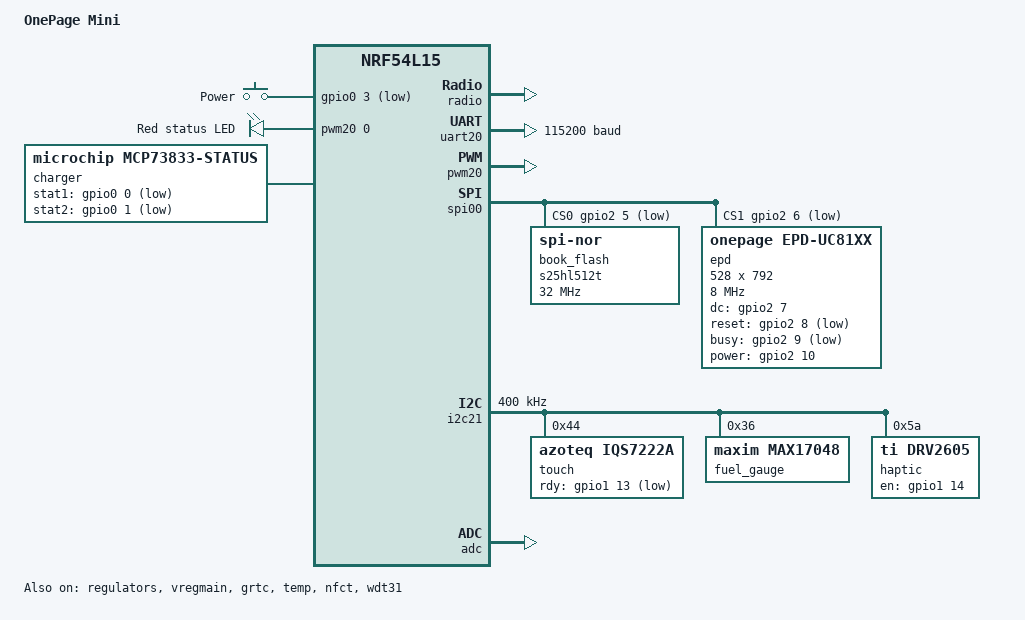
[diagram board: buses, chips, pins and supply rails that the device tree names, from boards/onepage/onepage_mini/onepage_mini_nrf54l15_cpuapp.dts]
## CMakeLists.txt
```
# OnePage Mini firmware (nRF Connect SDK v3.0.2, sysbuild with MCUboot).
cmake_minimum_required(VERSION 3.20.0)

# Custom board and bindings live in this directory.
list(APPEND BOARD_ROOT ${CMAKE_CURRENT_LIST_DIR})
list(APPEND DTS_ROOT ${CMAKE_CURRENT_LIST_DIR})

find_package(Zephyr REQUIRED HINTS $ENV{ZEPHYR_BASE})
project(onepage_mini)

# Portable core: plain C, also built by tests/host.
file(GLOB CORE_SOURCES src/core/*.c)
target_sources(app PRIVATE ${CORE_SOURCES})
target_include_directories(app PRIVATE src src/core)

target_sources(app PRIVATE
  src/main.c
  src/app.c
  src/clock.c
  src/power.c
  src/ble/ble_core.c
  src/ble/ancs.c
  src/ble/ams.c
  src/ble/cts.c
  src/ble/op_service.c
  src/ble/nfc_tag.c
  src/drivers/epd_uc81xx.c
  src/drivers/touch_iqs7222a.c
  src/drivers/charger.c
  src/drivers/battery.c
  src/drivers/alerts_hw.c
  src/drivers/button.c
  src/storage/store.c
  src/storage/books.c
  src/ui/gfx.c
  src/ui/screens.c
  src/ui/fonts_generated.c
)

if(CONFIG_ONEPAGE_TEST_AWAY_ERASE_MIN GREATER 0)
  message(WARNING "BENCH BUILD: phone-away erase after ${CONFIG_ONEPAGE_TEST_AWAY_ERASE_MIN} min. Do not ship.")
  math(EXPR ONEPAGE_AWAY_ERASE_MS "${CONFIG_ONEPAGE_TEST_AWAY_ERASE_MIN} * 60000")
  target_compile_definitions(app PRIVATE PRIV_ERASE_DELAY_MS=${ONEPAGE_AWAY_ERASE_MS}ull)
endif()
```

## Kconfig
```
menu "OnePage Mini"

config ONEPAGE_HW_REV
	int "Hardware revision reported in Status"
	default 1

config ONEPAGE_FW_VERSION
	string "Firmware version string reported in Status"
	default "1.0.0"

config ONEPAGE_NFC_URL_HOST
	string "Host and path of the NFC link, before the device ID"
	default "onepage.app/p/"
	help
	  The tag holds https://<this><DEVICE_ID>. onepage.app is a
	  placeholder until the domain is registered (protocol section 4).

config ONEPAGE_PAIRING_WINDOW_S
	int "Pairing window length, seconds"
	default 120

config ONEPAGE_EPD_POWER_HOLD_MS
	int "Keep the display supply on this long after the last refresh"
	default 120000
	help
	  Partial refresh needs the previous image in the controller's RAM,
	  which is lost when the supply is cut. The supply is cut after this
	  idle time, and the next refresh is a full one.

config ONEPAGE_UNSECURED_TIMEOUT_S
	int "Disconnect a link that is not encrypted after this many seconds"
	default 15

config ONEPAGE_TEST_AWAY_ERASE_MIN
	int "BENCH ONLY: erase the calendar after this many minutes away"
	default 0
	help
	  0 (the default) keeps the 7-day rule. A value above 0 replaces it
	  and saves the time away every minute, so docs/TESTING.md can check
	  the erase and the restart-while-away rule in minutes. Never ship a
	  build with this set.

endmenu

source "Kconfig.zephyr"
```

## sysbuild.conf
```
# MCUboot with signed images. Replace the development key before production:
# SB_CONFIG_BOOT_SIGNATURE_KEY_FILE="<path to private key>"   TODO(release)
SB_CONFIG_BOOTLOADER_MCUBOOT=y
SB_CONFIG_BOOT_SIGNATURE_TYPE_ED25519=y
```

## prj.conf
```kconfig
# OnePage Mini application configuration.

# ---- Kernel --------------------------------------------------------------
CONFIG_MAIN_STACK_SIZE=4096
CONFIG_SYSTEM_WORKQUEUE_STACK_SIZE=2048
CONFIG_HEAP_MEM_POOL_SIZE=2048
CONFIG_REBOOT=y
CONFIG_POWEROFF=y
CONFIG_HWINFO=y
CONFIG_PM_DEVICE=y
CONFIG_PM_DEVICE_RUNTIME=y

# ---- Logging (set CONFIG_LOG=n for production) -----------------------------
CONFIG_LOG=y
CONFIG_LOG_MODE_DEFERRED=y
CONFIG_LOG_DEFAULT_LEVEL=3
CONFIG_BT_USER_PHY_UPDATE=y
CONFIG_BT_USER_DATA_LEN_UPDATE=y

# ---- Bluetooth -------------------------------------------------------------
CONFIG_BT=y
CONFIG_BT_PERIPHERAL=y
CONFIG_BT_DEVICE_NAME="OnePage Mini"
CONFIG_BT_DEVICE_APPEARANCE=0
CONFIG_BT_MAX_CONN=1
CONFIG_BT_MAX_PAIRED=1
CONFIG_BT_SMP=y
CONFIG_BT_SMP_SC_PAIR_ONLY=y
CONFIG_BT_SMP_APP_PAIRING_ACCEPT=y
CONFIG_BT_BONDABLE=y
CONFIG_BT_SETTINGS=y
CONFIG_BT_GATT_CLIENT=y
CONFIG_BT_GATT_DM=y
CONFIG_BT_GATT_DYNAMIC_DB=n
CONFIG_BT_GAP_AUTO_UPDATE_CONN_PARAMS=n
CONFIG_BT_GATTP=y
CONFIG_BT_ANCS_CLIENT=y
CONFIG_BT_AMS_CLIENT=y
CONFIG_BT_CTS_CLIENT=y
CONFIG_BT_BAS=y
CONFIG_BT_DIS=y
CONFIG_BT_DIS_MODEL_NUMBER_STR="OnePage Mini"
CONFIG_BT_DIS_MANUF_NAME_STR="OnePage"
CONFIG_BT_DIS_FW_REV=y
CONFIG_BT_DIS_FW_REV_STR="1.0.0"
CONFIG_BT_DIS_HW_REV=y
CONFIG_BT_DIS_HW_REV_STR="1"

# Larger MTU and data length for book transfer.
CONFIG_BT_L2CAP_TX_MTU=247
CONFIG_BT_BUF_ACL_TX_SIZE=251
CONFIG_BT_BUF_ACL_RX_SIZE=251
CONFIG_BT_BUF_ACL_TX_COUNT=8
CONFIG_BT_BUF_ACL_RX_COUNT_EXTRA=4
CONFIG_BT_CTLR_DATA_LENGTH_MAX=251
CONFIG_BT_ATT_TX_COUNT=8
CONFIG_BT_RX_STACK_SIZE=3072

# ---- Firmware update over Bluetooth (MCUmgr SMP) ---------------------------
CONFIG_NCS_SAMPLE_MCUMGR_BT_OTA_DFU=y
CONFIG_MCUMGR_TRANSPORT_BT_PERM_RW_ENCRYPT=y

# ---- Storage ---------------------------------------------------------------
CONFIG_FLASH=y
CONFIG_FLASH_MAP=y
CONFIG_FLASH_PAGE_LAYOUT=y
CONFIG_ZMS=y
CONFIG_SETTINGS=y
CONFIG_SETTINGS_ZMS=y
CONFIG_PM_PARTITION_SIZE_SETTINGS_STORAGE=0x10000

# Books on the external NOR flash, littlefs.
CONFIG_SPI=y
CONFIG_SPI_NOR=y
CONFIG_FILE_SYSTEM=y
CONFIG_FILE_SYSTEM_LITTLEFS=y
CONFIG_FS_LITTLEFS_FMP_DEV=y
CONFIG_PM_PARTITION_REGION_LITTLEFS_EXTERNAL=y

# ---- NFC tag ----------------------------------------------------------------
CONFIG_NFC_T2T_NRFXLIB=y
CONFIG_NFC_NDEF=y
CONFIG_NFC_NDEF_MSG=y
CONFIG_NFC_NDEF_RECORD=y
CONFIG_NFC_NDEF_URI_MSG=y
CONFIG_NFC_NDEF_URI_REC=y

# ---- Peripherals ------------------------------------------------------------
CONFIG_I2C=y
CONFIG_PWM=y
CONFIG_FUEL_GAUGE=y
CONFIG_HAPTICS=y

# ---- Robustness (review pass 5) --------------------------------------------
# SMP upload chunks keep the link fast (op_service.c smp_chunk_cb).
CONFIG_MCUMGR_MGMT_NOTIFICATION_HOOKS=y
CONFIG_MCUMGR_GRP_IMG_UPLOAD_CHECK_HOOK=y
# Hardware watchdog, fed by the application thread (app.c).
CONFIG_WATCHDOG=y
```

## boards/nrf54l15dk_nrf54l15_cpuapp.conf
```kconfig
# MX25R64 on the DK: 8 MB for books.
CONFIG_PM_PARTITION_SIZE_LITTLEFS=0x800000
```

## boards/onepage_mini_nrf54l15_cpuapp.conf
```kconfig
# S25HL512T: 64 MB for books. Read the 4-byte addressing and sector map
# from the chip's SFDP tables. TODO(datasheet): confirm the sector map is
# set to uniform 4 KB or 256 KB and match littlefs to it.
CONFIG_PM_PARTITION_SIZE_LITTLEFS=0x4000000
CONFIG_SPI_NOR_SFDP_RUNTIME=y
```

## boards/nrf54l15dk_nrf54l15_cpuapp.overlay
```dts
/*
 * nRF54L15 DK for development. The DK's MX25R64 holds books. The display,
 * touch controller, fuel gauge and haptic driver are optional wires to the
 * DK headers; the firmware logs each missing part and runs without it.
 *
 * DK wiring (all optional):
 *   Display  SPIM00 shared with MX25R64: SCK P2.01, MOSI P2.02,
 *            CS P0.00, DC P0.01, RST P0.02, BUSY P0.03
 *   I2C22    SDA P1.06, SCL P1.07 (UART20 flow control is off)
 *   Touch    RDY P1.11
 *   Charger  STAT1 P1.12, STAT2 P1.15
 *   Button   DK Button 0 is the power button
 *   LED      DK LED 1 (PWM20 on P1.10) is the status LED
 */
#include <zephyr/dt-bindings/input/input-event-codes.h>

/ {
	chosen {
		nordic,pm-ext-flash = &mx25r64;
		onepage,display = &epd;
		onepage,touch = &touch;
		onepage,charger = &charger;
	};

	charger: charger {
		compatible = "microchip,mcp73833-status";
		stat1-gpios = <&gpio1 12 (GPIO_PULL_UP | GPIO_ACTIVE_LOW)>;
		stat2-gpios = <&gpio1 15 (GPIO_PULL_UP | GPIO_ACTIVE_LOW)>;
	};
};

&pinctrl {
	uart20_default_noflow: uart20_default_noflow {
		group1 {
			psels = <NRF_PSEL(UART_TX, 1, 4)>;
		};
		group2 {
			psels = <NRF_PSEL(UART_RX, 1, 5)>;
			bias-pull-up;
		};
	};
	uart20_sleep_noflow: uart20_sleep_noflow {
		group1 {
			psels = <NRF_PSEL(UART_TX, 1, 4)>, <NRF_PSEL(UART_RX, 1, 5)>;
			low-power-enable;
		};
	};
	i2c22_default: i2c22_default {
		group1 {
			psels = <NRF_PSEL(TWIM_SDA, 1, 6)>, <NRF_PSEL(TWIM_SCL, 1, 7)>;
		};
	};
	i2c22_sleep: i2c22_sleep {
		group1 {
			psels = <NRF_PSEL(TWIM_SDA, 1, 6)>, <NRF_PSEL(TWIM_SCL, 1, 7)>;
			low-power-enable;
		};
	};
};

&uart20 {
	pinctrl-0 = <&uart20_default_noflow>;
	pinctrl-1 = <&uart20_sleep_noflow>;
};

&nfct {
	status = "okay";
};

&spi00 {
	cs-gpios = <&gpio2 5 GPIO_ACTIVE_LOW>, <&gpio0 0 GPIO_ACTIVE_LOW>;

	epd: epd@1 {
		compatible = "onepage,epd-uc81xx";
		reg = <1>;
		spi-max-frequency = <8000000>;
		width = <528>;
		height = <792>;
		dc-gpios = <&gpio0 1 GPIO_ACTIVE_HIGH>;
		reset-gpios = <&gpio0 2 GPIO_ACTIVE_LOW>;
		busy-gpios = <&gpio0 3 GPIO_ACTIVE_LOW>;
	};
};

&i2c22 {
	status = "okay";
	clock-frequency = <I2C_BITRATE_FAST>;
	pinctrl-0 = <&i2c22_default>;
	pinctrl-1 = <&i2c22_sleep>;
	pinctrl-names = "default", "sleep";
	zephyr,concat-buf-size = <64>;

	touch: iqs7222a@44 {
		compatible = "azoteq,iqs7222a";
		reg = <0x44>;
		rdy-gpios = <&gpio1 11 (GPIO_ACTIVE_LOW | GPIO_PULL_UP)>;
	};

	fuel_gauge: max17048@36 {
		compatible = "maxim,max17048";
		reg = <0x36>;
	};

	haptic: drv2605@5a {
		compatible = "ti,drv2605";
		reg = <0x5a>;
		actuator-mode = "LRA";
	};
};

/* The FLPR (RISC-V) core is not used: give its RAM and RRAM to the app core,
 * as Nordic samples do. The frame buffer alone needs 52 KB.
 */
&cpuapp_rram {
	reg = <0x0 DT_SIZE_K(1524)>;
};

&cpuapp_sram {
	reg = <0x20000000 DT_SIZE_K(256)>;
	ranges = <0x0 0x20000000 0x40000>;
};

&rram_controller {
	/delete-node/ cpuflpr_sram;
	/delete-node/ cpuflpr_rram;
};

/* Watchdog, fed by the application thread (review pass 5). */
&wdt31 { status = "okay"; };
```

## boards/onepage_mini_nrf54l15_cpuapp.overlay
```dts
/*
 * Application-only devicetree for the OnePage Mini. The book partition on
 * the external flash belongs to the application; MCUboot does not use it.
 */
/ {
	chosen {
		nordic,pm-ext-flash = &book_flash;
	};
};
```

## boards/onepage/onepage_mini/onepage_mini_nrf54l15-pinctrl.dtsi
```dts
/*
 * OnePage Mini pin assignments.
 * Every pin here is a placeholder until the PCB layout is final.
 */
&pinctrl {
	uart20_default: uart20_default {
		group1 {
			psels = <NRF_PSEL(UART_TX, 1, 4)>; /* TODO(pcb) test pad */
		};
		group2 {
			psels = <NRF_PSEL(UART_RX, 1, 5)>; /* TODO(pcb) test pad */
			bias-pull-up;
		};
	};
	uart20_sleep: uart20_sleep {
		group1 {
			psels = <NRF_PSEL(UART_TX, 1, 4)>, <NRF_PSEL(UART_RX, 1, 5)>;
			low-power-enable;
		};
	};
	/* Display and NOR flash share SPIM00. SPIM00 pins must be on port 2. */
	spi00_default: spi00_default {
		group1 {
			psels = <NRF_PSEL(SPIM_SCK, 2, 1)>,  /* TODO(pcb) */
				<NRF_PSEL(SPIM_MOSI, 2, 2)>, /* TODO(pcb) */
				<NRF_PSEL(SPIM_MISO, 2, 4)>; /* TODO(pcb) */
		};
	};
	spi00_sleep: spi00_sleep {
		group1 {
			psels = <NRF_PSEL(SPIM_SCK, 2, 1)>,
				<NRF_PSEL(SPIM_MOSI, 2, 2)>,
				<NRF_PSEL(SPIM_MISO, 2, 4)>;
			low-power-enable;
		};
	};
	/* Touch, fuel gauge and haptic driver share TWIM21. */
	i2c21_default: i2c21_default {
		group1 {
			psels = <NRF_PSEL(TWIM_SDA, 1, 11)>, /* TODO(pcb) */
				<NRF_PSEL(TWIM_SCL, 1, 12)>; /* TODO(pcb) */
		};
	};
	i2c21_sleep: i2c21_sleep {
		group1 {
			psels = <NRF_PSEL(TWIM_SDA, 1, 11)>, <NRF_PSEL(TWIM_SCL, 1, 12)>;
			low-power-enable;
		};
	};
	/* Red status LED. PWM20 can only drive port 1 pins. */
	pwm20_default: pwm20_default {
		group1 {
			psels = <NRF_PSEL(PWM_OUT0, 1, 10)>; /* TODO(pcb) */
		};
	};
	pwm20_sleep: pwm20_sleep {
		group1 {
			psels = <NRF_PSEL(PWM_OUT0, 1, 10)>;
			low-power-enable;
		};
	};
};
```

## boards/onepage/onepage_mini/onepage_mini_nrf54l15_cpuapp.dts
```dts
/*
 * OnePage Mini, application core of the nRF54L15
 * (Raytac AN54LQ-15 module). Parts follow the component list; pins are
 * placeholders marked TODO(pcb).
 */
/dts-v1/;

#include <nordic/nrf54l15_cpuapp.dtsi>
#include <zephyr/dt-bindings/input/input-event-codes.h>
#include "onepage_mini_nrf54l15-pinctrl.dtsi"

/ {
	compatible = "onepage,onepage-mini";
	model = "OnePage Mini";

	chosen {
		zephyr,console = &uart20;
		zephyr,shell-uart = &uart20;
		zephyr,flash-controller = &rram_controller;
		zephyr,flash = &cpuapp_rram;
		zephyr,code-partition = &slot0_partition;
		zephyr,sram = &cpuapp_sram;
		onepage,display = &epd;
		onepage,touch = &touch;
		onepage,charger = &charger;
	};

	buttons {
		compatible = "gpio-keys";
		power_button: power_button {
			/* Side switch to ground. Wake-capable from System OFF. */
			gpios = <&gpio0 3 (GPIO_PULL_UP | GPIO_ACTIVE_LOW)>; /* TODO(pcb) */
			label = "Power";
			zephyr,code = <INPUT_KEY_POWER>;
		};
	};

	pwmleds {
		compatible = "pwm-leds";
		status_led: status_led {
			pwms = <&pwm20 0 PWM_MSEC(20) PWM_POLARITY_NORMAL>;
			label = "Red status LED";
		};
	};

	charger: charger {
		compatible = "microchip,mcp73833-status";
		stat1-gpios = <&gpio0 0 (GPIO_PULL_UP | GPIO_ACTIVE_LOW)>; /* TODO(pcb) */
		stat2-gpios = <&gpio0 1 (GPIO_PULL_UP | GPIO_ACTIVE_LOW)>; /* TODO(pcb) */
	};

	aliases {
		pwm-led0 = &status_led;
		sw0 = &power_button;
		watchdog0 = &wdt31;
	};
};

&cpuapp_sram {
	status = "okay";
};

&lfxo {
	load-capacitors = "internal";
	load-capacitance-femtofarad = <15000>; /* TODO(pcb): per module datasheet */
};

&hfxo {
	load-capacitors = "internal";
	load-capacitance-femtofarad = <15000>; /* TODO(pcb): per module datasheet */
};

&regulators {
	status = "okay";
};

&vregmain {
	status = "okay";
	regulator-initial-mode = <NRF5X_REG_MODE_DCDC>;
};

&grtc {
	owned-channels = <0 1 2 3 4 5 6 7 8 9 10 11>;
	child-owned-channels = <3 4 7 8 9 10 11>;
	status = "okay";
};

&clock { status = "okay"; };
&radio { status = "okay"; };
&temp { status = "okay"; };
&gpio0 { status = "okay"; };
&gpio1 { status = "okay"; };
&gpio2 { status = "okay"; };
&gpiote20 { status = "okay"; };
&gpiote30 { status = "okay"; };

&uart20 {
	status = "okay";
	current-speed = <115200>;
	pinctrl-0 = <&uart20_default>;
	pinctrl-1 = <&uart20_sleep>;
	pinctrl-names = "default", "sleep";
};

&pwm20 {
	status = "okay";
	pinctrl-0 = <&pwm20_default>;
	pinctrl-1 = <&pwm20_sleep>;
	pinctrl-names = "default", "sleep";
};

/* NFC antenna on the dedicated NFC1/NFC2 pins (P1.02, P1.03). */
&nfct {
	status = "okay";
};

&spi00 {
	status = "okay";
	cs-gpios = <&gpio2 5 GPIO_ACTIVE_LOW>,  /* NOR flash, TODO(pcb) */
		   <&gpio2 6 GPIO_ACTIVE_LOW>;  /* display, TODO(pcb) */
	pinctrl-0 = <&spi00_default>;
	pinctrl-1 = <&spi00_sleep>;
	pinctrl-names = "default", "sleep";

	/* Infineon S25HL512T, 512 Mbit (64 MB). Books only. */
	book_flash: s25hl512t@0 {
		compatible = "jedec,spi-nor";
		reg = <0>;
		spi-max-frequency = <32000000>;
		jedec-id = [34 2a 1a];
		size = <DT_SIZE_M(512)>; /* in bits */
		has-dpd;
		t-enter-dpd = <3000>;
		t-exit-dpd = <100000>; /* TODO(datasheet): tRES from S25HL512T sheet */
	};

	epd: epd@1 {
		compatible = "onepage,epd-uc81xx";
		reg = <1>;
		spi-max-frequency = <8000000>;
		width = <528>;
		height = <792>;
		dc-gpios = <&gpio2 7 GPIO_ACTIVE_HIGH>;    /* TODO(pcb) */
		reset-gpios = <&gpio2 8 GPIO_ACTIVE_LOW>;  /* TODO(pcb) */
		busy-gpios = <&gpio2 9 GPIO_ACTIVE_LOW>;   /* TODO(pcb) BUSY active-low */
		power-gpios = <&gpio2 10 GPIO_ACTIVE_HIGH>; /* TODO(pcb) load switch */
	};
};

&i2c21 {
	status = "okay";
	clock-frequency = <I2C_BITRATE_FAST>;
	pinctrl-0 = <&i2c21_default>;
	pinctrl-1 = <&i2c21_sleep>;
	pinctrl-names = "default", "sleep";

	touch: iqs7222a@44 {
		compatible = "azoteq,iqs7222a";
		reg = <0x44>;
		rdy-gpios = <&gpio1 13 (GPIO_ACTIVE_LOW | GPIO_PULL_UP)>; /* TODO(pcb) */
	};

	fuel_gauge: max17048@36 {
		compatible = "maxim,max17048";
		reg = <0x36>;
	};

	haptic: drv2605@5a {
		compatible = "ti,drv2605";
		reg = <0x5a>;
		actuator-mode = "LRA";
		en-gpios = <&gpio1 14 GPIO_ACTIVE_HIGH>; /* TODO(pcb) */
		vib-rated-mv = <2000>;    /* TODO(datasheet): LRA part not final */
		vib-overdrive-mv = <2500>;
	};
};

&adc {
	status = "okay";
};

/*
 * Internal RRAM layout without the Partition Manager. With sysbuild and
 * MCUboot (the normal build) the Partition Manager replaces this.
 */
&cpuapp_rram {
	partitions {
		compatible = "fixed-partitions";
		#address-cells = <1>;
		#size-cells = <1>;
		boot_partition: partition@0 {
			label = "mcuboot";
			reg = <0x0 DT_SIZE_K(64)>;
		};
		slot0_partition: partition@10000 {
			label = "image-0";
			reg = <0x10000 DT_SIZE_K(660)>;
		};
		slot1_partition: partition@b5000 {
			label = "image-1";
			reg = <0xb5000 DT_SIZE_K(660)>;
		};
		storage_partition: partition@15a000 {
			label = "storage";
			reg = <0x15a000 DT_SIZE_K(64)>;
		};
	};
};

/* The FLPR (RISC-V) core is not used: give its RAM and RRAM to the app core,
 * as Nordic samples do. The frame buffer alone needs 52 KB.
 */
&cpuapp_rram {
	reg = <0x0 DT_SIZE_K(1524)>;
};

&cpuapp_sram {
	reg = <0x20000000 DT_SIZE_K(256)>;
	ranges = <0x0 0x20000000 0x40000>;
};

&rram_controller {
	/delete-node/ cpuflpr_sram;
	/delete-node/ cpuflpr_rram;
};

/* Watchdog, fed by the application thread (review pass 5). */
&wdt31 { status = "okay"; };
```

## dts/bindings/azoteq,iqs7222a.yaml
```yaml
description: Azoteq IQS7222A capacitive controller, used as a one-axis slider.

compatible: "azoteq,iqs7222a"

include: i2c-device.yaml

properties:
  rdy-gpios:
    type: phandle-array
    required: true
    description: RDY line, open drain, low when the device has data. Must be wake-capable.
```

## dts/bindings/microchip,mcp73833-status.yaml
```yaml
description: Status outputs of an MCP73833 Li-ion charger (open drain, active low).

compatible: "microchip,mcp73833-status"

properties:
  stat1-gpios:
    type: phandle-array
    required: true
  stat2-gpios:
    type: phandle-array
    required: true
  pg-gpios:
    type: phandle-array
    description: Power-good output, if routed.
```

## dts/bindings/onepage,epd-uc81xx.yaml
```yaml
description: |
  E-paper panel with an UltraChip UC81xx-family controller, as on the
  Sunshine SDE0368NQW-52 (3.68", 528 x 792). The command set is in
  src/drivers/epd_uc81xx.c, marked TODO(datasheet).

compatible: "onepage,epd-uc81xx"

include: spi-device.yaml

properties:
  width:
    type: int
    required: true
  height:
    type: int
    required: true
  dc-gpios:
    type: phandle-array
    required: true
    description: Data/command select. High = data.
  reset-gpios:
    type: phandle-array
    required: true
  busy-gpios:
    type: phandle-array
    required: true
    description: BUSY output of the controller. Flag it GPIO_ACTIVE_LOW when low means busy.
  power-gpios:
    type: phandle-array
    description: Load switch for the panel supply. Optional.
```

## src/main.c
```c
/*
 * OnePage Mini firmware - start-up. See README.md for the module map.
 */
#include <zephyr/dfu/mcuboot.h>
#include <zephyr/kernel.h>
#include <zephyr/sys/reboot.h>
#include <zephyr/logging/log.h>

#include "app.h"
#include "ble/ble.h"
#include "drivers/epd.h"
#include "drivers/input.h"
#include "drivers/power_hw.h"
#include "storage/books.h"
#include "storage/store.h"

LOG_MODULE_REGISTER(main, LOG_LEVEL_INF);

void app_init_state(void);
void app_run(void);

int main(void)
{
	int err;

	LOG_INF("OnePage Mini %s", CONFIG_ONEPAGE_FW_VERSION);
	app_init_state();

	/* Parts that may be missing on a dev kit log it and are skipped. */
	(void)alerts_hw_init();
	(void)epd_init();
	(void)charger_init();
	(void)battery_init();
	(void)button_init();
	(void)touch_init();
	(void)books_init();

	int ble_err = ble_init();

	if (ble_err) {
		LOG_ERR("Bluetooth failed to start (%d)", ble_err);
	}
	/* After bt_enable: settings also restore the bond. */
	err = store_init();
	if (err) {
		LOG_ERR("settings failed to load (%d)", err);
		app_set_error(OP_ERR_STORAGE_FAULT);
	}
	ble_start();
	(void)nfc_tag_init(ble_device_id());

	/*
	 * Keep a new image only if Bluetooth started: an image without a radio
	 * cannot be updated again, so leave it unconfirmed and MCUboot returns
	 * to the previous image at the next restart (the watchdog forces one).
	 */
	if (!boot_is_img_confirmed()) {
		if (ble_err == 0) {
			err = boot_write_img_confirmed();
			LOG_INF("image confirmed (%d)", err);
		} else {
			LOG_ERR("new image not confirmed: Bluetooth failed; restarting to roll back");
			k_sleep(K_SECONDS(2));
			sys_reboot(SYS_REBOOT_COLD);
		}
	}

	app_run();
	return 0;
}
```

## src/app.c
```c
/*
 * OnePage Mini - application thread: handles every event, applies the
 * phone-away rules, schedules data requests, and draws the screen.
 */
#include "app.h"

#include <string.h>

#include <zephyr/kernel.h>
#include <zephyr/logging/log.h>
#include <zephyr/sys/reboot.h>
#include <zephyr/drivers/watchdog.h>

#include "ble/ble.h"
#include "clock.h"
#include "core/battery_policy.h"
#include "core/op_time.h"
#include "drivers/epd.h"
#include "drivers/power_hw.h"
#include "power.h"
#include "storage/books.h"
#include "storage/store.h"
#include "ui/gfx.h"
#include "ui/screens.h"

LOG_MODULE_REGISTER(app, LOG_LEVEL_INF);

/* Flags carried with EVT_NOTIF_ADDED (see ancs.c). */
#define NF_PRE_EXISTING BIT(0)
#define NF_IOS_SILENT BIT(1)
#define NF_NEW BIT(2)

#define BATTERY_POLL_MS (5 * 60 * 1000)
#define POSITION_SAVE_PAGES 20
#if CONFIG_ONEPAGE_TEST_AWAY_ERASE_MIN > 0
/* Bench build: save the time away every minute so a restart test is short. */
#define AWAY_SAVE_STEP_MS (60u * 1000u)
#else
#define AWAY_SAVE_STEP_MS (60u * 60u * 1000u)
#endif
/* The loop wakes at least every BATTERY_POLL_MS (5 min). A full refresh, a
 * book delete or a flash erase can block it for some seconds more.
 */
#define WDT_TIMEOUT_MS (10u * 60u * 1000u)

struct app_state g_app;

K_MSGQ_DEFINE(evt_q, sizeof(struct app_evt), 32, 4);
static K_MUTEX_DEFINE(state_mutex);

static struct sched sched;
static enum ui_screen last_screen = UI_SCREEN_COUNT;
static bool force_full;
static uint32_t last_minute;
static int64_t next_battery_poll;
static struct batt_policy batt;
static uint16_t pages_since_save;

void app_lock(void)
{
	k_mutex_lock(&state_mutex, K_FOREVER);
}

void app_unlock(void)
{
	k_mutex_unlock(&state_mutex);
}

void app_post(uint8_t type, uint8_t a, uint32_t b)
{
	struct app_evt e = {.type = type, .a = a, .b = b};

	if (k_msgq_put(&evt_q, &e, K_NO_WAIT)) {
		LOG_WRN("event queue full, event %u dropped", type);
	}
}

void app_set_error(uint16_t code)
{
	app_lock();
	g_app.last_error = code;
	app_unlock();
	op_service_notify_status();
}

size_t app_status_encode(uint8_t *buf, size_t cap)
{
	struct op_status s = {0};

	books_storage(&s.storage_free_kib, &s.storage_total_kib);
	app_lock();
	s.battery = g_app.battery.percent;
	s.charging = g_app.battery.charging;
	s.last_error = g_app.last_error;
	s.calendar_version = g_app.cal.version;
	s.calendar_synced_at = g_app.cal.generated_at;
	app_unlock();
	strncpy(s.firmware, CONFIG_ONEPAGE_FW_VERSION, sizeof(s.firmware) - 1);
	s.hw_rev = CONFIG_ONEPAGE_HW_REV;
	return op_status_encode(&s, buf, cap);
}

void app_erase_personal(void)
{
	app_lock();
	cal_erase(&g_app.cal);
	memset(&g_app.weather, 0, sizeof(g_app.weather));
	op_settings_default(&g_app.settings);
	op_privacy_default(&g_app.privacy_cfg);
	app_filter_init(&g_app.filter);
	notif_list_clear(&g_app.notifs);
	memset(&g_app.music, 0, sizeof(g_app.music));
	app_unlock();
	store_erase_personal();
	LOG_INF("personal data erased");
}

static void erase_all_and_restart(void)
{
	app_erase_personal();
	books_erase_all();
	ble_remove_bonds();
	screens_draw_message("Erased", "Restarting.");
	(void)epd_show(gfx_fb, EPD_FULL, 0, EPD_HEIGHT - 1);
	sys_reboot(SYS_REBOOT_COLD);
}

/* ---- watchdog ------------------------------------------------------------------------ */

#if DT_HAS_ALIAS(watchdog0) && DT_NODE_HAS_STATUS(DT_ALIAS(watchdog0), okay)
static const struct device *const wdt = DEVICE_DT_GET(DT_ALIAS(watchdog0));
static int wdt_channel = -1;

static void wdt_start(void)
{
	struct wdt_timeout_cfg cfg = {
		.window = {.min = 0, .max = WDT_TIMEOUT_MS},
		.flags = WDT_FLAG_RESET_SOC,
	};

	if (!device_is_ready(wdt)) {
		LOG_WRN("watchdog not ready");
		return;
	}
	wdt_channel = wdt_install_timeout(wdt, &cfg);
	/* Pause while a debugger halts the CPU; keep counting in sleep. */
	if (wdt_channel < 0 || wdt_setup(wdt, WDT_OPT_PAUSE_HALTED_BY_DBG)) {
		LOG_ERR("watchdog setup failed (%d)", wdt_channel);
		wdt_channel = -1;
	}
}

static void wdt_kick(void)
{
	if (wdt_channel >= 0) {
		(void)wdt_feed(wdt, wdt_channel);
	}
}
#else
static void wdt_start(void) {}
static void wdt_kick(void) {}
#endif

/* ---- rendering ------------------------------------------------------------------------ */

static void make_ctx(struct ui_ctx *c)
{
	uint32_t now = clock_now();

	memset(c, 0, sizeof(*c));
	c->notif_count = notif_list_count(&g_app.notifs);
	c->cal_count = cal_current_count(&g_app.cal, now);
	c->book_count = books_count();
	c->locked = privacy_locked(&g_app.privacy);
	/* Without a valid clock the device cannot tell which events are past
	 * (after a restart away from the phone), so it shows no calendar.
	 */
	c->cal_visible = clock_valid() &&
			 privacy_calendar_visible(&g_app.privacy,
						  g_app.privacy_cfg.show_calendar_away);
	c->detail_pages = screens_detail_pages(&g_app.nav);
}

static void render(void)
{
	struct ui_ctx ctx;
	uint16_t y0 = 0, y1 = EPD_HEIGHT - 1;

	app_lock();
	make_ctx(&ctx);
	ui_nav_refresh(&g_app.nav, &ctx);
	screens_draw(&ctx);
	enum ui_screen screen = g_app.nav.screen;
	uint8_t refresh_mode = g_app.settings.refresh_mode;
	app_unlock();

	if (screen == UI_HOME || screen == UI_CHARGING) {
		last_minute = clock_now() / 60;
	}
	if (!epd_present()) {
		gfx_mark_shown();
		last_screen = screen;
		return;
	}
	bool changed = gfx_changed_rows(&y0, &y1);

	if (!changed && !force_full) {
		return;
	}
	enum epd_mode mode;

	if (force_full) {
		mode = EPD_FULL;
		y0 = 0;
		y1 = EPD_HEIGHT - 1;
	} else if (screen != last_screen) {
		mode = refresh_mode == OP_REFRESH_QUALITY ? EPD_FULL
		       : refresh_mode == OP_REFRESH_FAST  ? EPD_PARTIAL
							  : EPD_FAST;
		if (mode == EPD_PARTIAL) {
			y0 = 0;
			y1 = EPD_HEIGHT - 1;
		}
	} else {
		mode = EPD_PARTIAL;
	}
	if (epd_show(gfx_fb, mode, y0, y1) == 0) {
		gfx_mark_shown();
	} else {
		gfx_forget_shown();
	}
	force_full = false;
	last_screen = screen;
}

/* ---- actions -------------------------------------------------------------------------- */

static void reader_close(void)
{
	if (g_reading.open) {
		store_set_position(g_reading.book_id, reader_position(&g_reading.r));
		books_close();
		g_reading.open = false;
	}
	force_full = true; /* leaving the reader clears ghosting */
}

/* Saves the reading position, then switches off (power menu, or battery at 3%). */
static void app_power_off(const char *title, const char *body)
{
	reader_close();
	power_off(title, body);
}

static void reader_open_index(uint16_t index)
{
	struct op_book_info b;
	struct reader_metrics m;

	reader_close();
	force_full = true;
	if (!books_get(index, &b) || books_open(b.book_id, &g_reading.size) ||
	    opb_parse(&g_reading.info, books_read, NULL, g_reading.size)) {
		LOG_WRN("book %u could not be opened", index);
		books_close();
		app_set_error(OP_ERR_BOOK);
		return;
	}
	screens_reader_metrics(&m);
	reader_open(&g_reading.r, &g_reading.info, books_read, NULL, &m, b.position);
	g_reading.book_id = b.book_id;
	g_reading.open = true;
	pages_since_save = 0;
}

static void page_turned(void)
{
	if (++pages_since_save >= POSITION_SAVE_PAGES) {
		pages_since_save = 0;
		store_set_position(g_reading.book_id, reader_position(&g_reading.r));
	}
}

static void change_setting(uint16_t item)
{
	bool privacy = false;
	uint8_t preview = 0;

	app_lock();
	struct op_settings *s = &g_app.settings;

	switch (item) {
	case SET_ALERT_STRENGTH:
		s->alert_strength = (s->alert_strength + 1) % 4;
		preview = s->alert_strength;
		break;
	case SET_QUIET_HOURS:
		s->quiet_on = !s->quiet_on;
		break;
	case SET_REFRESH_MODE:
		s->refresh_mode = (s->refresh_mode + 1) % 3;
		break;
	case SET_CAL_AWAY:
		g_app.privacy_cfg.show_calendar_away = !g_app.privacy_cfg.show_calendar_away;
		privacy = true;
		break;
	default:
		break;
	}
	app_unlock();
	if (privacy) {
		store_save_privacy();
	} else {
		store_save_settings();
	}
	if (preview) {
		alerts_play(OP_PATTERN_SINGLE, preview);
	}
}

static void open_pairing(void)
{
	app_erase_personal();
	ble_open_pairing_window();
	app_lock();
	ui_nav_show(&g_app.nav, UI_PAIRING);
	app_unlock();
	force_full = true;
}

static void do_action(const struct ui_result *r)
{
	switch (r->act) {
	case UI_ACT_NOTIF_OPENED:
		app_lock();
		struct notif *n = notif_list_newest(&g_app.notifs, (uint8_t)r->index);

		if (n) {
			n->read = true;
		}
		app_unlock();
		break;
	case UI_ACT_NOTIF_NEGATIVE: {
		uint32_t uid = 0;
		bool has_neg = false;

		app_lock();
		struct notif *x = notif_list_newest(&g_app.notifs, (uint8_t)r->index);

		if (x) {
			uid = x->uid;
			has_neg = x->has_negative;
		}
		app_unlock();
		if (has_neg) {
			/* iOS then sends "removed", which takes it off the list. */
			ancs_negative_action(uid);
		}
		break;
	}
	case UI_ACT_MUSIC_TOGGLE: ams_command(AMS_TOGGLE); break;
	case UI_ACT_MUSIC_NEXT: ams_command(AMS_NEXT); break;
	case UI_ACT_MUSIC_PREV: ams_command(AMS_PREV); break;
	case UI_ACT_BOOK_OPEN: reader_open_index(r->index); break;
	case UI_ACT_PAGE_NEXT:
		if (g_reading.open && reader_next(&g_reading.r)) {
			page_turned();
		}
		break;
	case UI_ACT_PAGE_PREV:
		if (g_reading.open && reader_prev(&g_reading.r)) {
			page_turned();
		}
		break;
	case UI_ACT_BOOK_CLOSE: reader_close(); break;
	case UI_ACT_SETTING: change_setting(r->index); break;
	case UI_ACT_PAIR_NEW: open_pairing(); break;
	case UI_ACT_ERASE_ALL: erase_all_and_restart(); break;
	case UI_ACT_POWER_OFF:
		app_power_off("Off", "Press the side button to switch on.");
		break;
	case UI_ACT_RESTART:
		reader_close();
		sys_reboot(SYS_REBOOT_COLD);
		break;
	case UI_ACT_REQUEST_REFRESH:
		if (g_app.link_ready) {
			op_service_data_request(OP_REQ_BOTH, OP_REASON_USER);
		}
		break;
	default:
		break;
	}
}

static void handle_input(enum ui_input in)
{
	struct ui_ctx ctx;
	struct ui_result r;

	app_lock();
	make_ctx(&ctx);
	r = ui_nav_input(&g_app.nav, &ctx, in);
	app_unlock();
	do_action(&r);
	render();
}

/* ---- phone-away rules ------------------------------------------------------------------- */

static void apply_privacy(unsigned act)
{
	if (act & PRIV_ACT_LOCK) {
		struct ui_ctx ctx;

		LOG_INF("phone away: locking");
		alerts_stop();
		app_lock();
		notif_list_clear(&g_app.notifs);
		memset(&g_app.music, 0, sizeof(g_app.music));
		make_ctx(&ctx);
		ui_nav_lock(&g_app.nav, &ctx);
		app_unlock();
		/* Full refresh, so no trace of a message stays on the panel. */
		force_full = true;
	}
	if (act & PRIV_ACT_ERASE_CAL) {
		LOG_INF("phone away 7 days: erasing calendar and weather");
		app_lock();
		cal_erase(&g_app.cal);
		memset(&g_app.weather, 0, sizeof(g_app.weather));
		app_unlock();
		store_save_calendar();
	}
	if (act & PRIV_ACT_UNLOCK) {
		LOG_INF("phone back");
	}
}

/* ---- events -------------------------------------------------------------------------- */

static void notif_added(uint8_t flags, uint32_t uid)
{
	struct alert_input in = {0};
	uint8_t pattern = OP_PATTERN_NONE;
	uint8_t strength;

	app_lock();
	const struct notif *n = notif_list_find(&g_app.notifs, uid);

	if (n && (flags & NF_NEW)) {
		const struct op_filter_entry *f = app_filter_find(&g_app.filter, n->app_id);

		in.filter_mode = f ? f->mode : OP_MODE_SHOW;
		in.filter_pattern = f ? f->pattern : OP_PATTERN_DEFAULT;
		in.category = n->category;
		in.ios_silent = (flags & NF_IOS_SILENT) != 0;
		in.pre_existing = (flags & NF_PRE_EXISTING) != 0;
		in.locked = privacy_locked(&g_app.privacy);
		pattern = alert_pattern(&g_app.settings, op_time_minute_of_day(clock_now()), &in);
	}
	strength = g_app.settings.alert_strength;
	app_unlock();
	if (pattern != OP_PATTERN_NONE) {
		alerts_play(pattern, strength);
	}
}

static void filter_changed(void)
{
	store_save_filter();
	/* Apply hide and title-only to notifications already on the list. */
	app_lock();
	for (int i = notif_list_count(&g_app.notifs) - 1; i >= 0; i--) {
		struct notif *n = notif_list_newest(&g_app.notifs, (uint8_t)i);
		const struct op_filter_entry *f = app_filter_find(&g_app.filter, n->app_id);

		if (!f) {
			continue;
		}
		if (f->mode == OP_MODE_HIDE) {
			notif_list_remove(&g_app.notifs, n->uid);
		} else {
			n->title_only = (f->flags & OP_FILTER_FLAG_TITLE_ONLY) != 0;
		}
	}
	app_unlock();
}

static void battery_check(void)
{
	if (battery_update() != 0) {
		return;
	}
	app_lock();
	uint8_t pct = g_app.battery.percent;
	uint8_t chg = g_app.battery.charging;
	uint16_t mv = g_app.battery.millivolts;
	app_unlock();

	unsigned act = batt_policy_reading(&batt, (uint32_t)(k_uptime_get() / 1000), pct, mv, chg);

	if (act & BATT_ACT_OFF) {
		app_power_off("Charge me", "The battery is empty. Connect the charger to switch on.");
	}
	if (act & BATT_ACT_WARN) {
		alerts_play(OP_PATTERN_DOUBLE, 1);
	}
	/* Protocol 5.1: notify Status on a change of percent or charging state. */
	static uint8_t last_pct = 0xFF, last_chg = 0xFF;

	if (pct != last_pct || chg != last_chg) {
		last_pct = pct;
		last_chg = chg;
		op_service_notify_status();
	}
}

static void handle(const struct app_evt *e)
{
	switch (e->type) {
	case EVT_INPUT:
		handle_input((enum ui_input)e->a);
		return;
	case EVT_CONNECTED:
		app_lock();
		g_app.connected = true;
		app_unlock();
		break;
	case EVT_LINK_READY: {
		struct sched_req q;

		app_lock();
		g_app.link_ready = true;
		g_app.bonded = true;
		apply_privacy(privacy_link_up(&g_app.privacy, clock_uptime_ms()));
		app_unlock();
		store_save_away(0);
		q = sched_connected(&sched, clock_uptime_ms() / 1000, clock_now());
		op_service_notify_status();
		op_service_data_request(q.kind, q.reason);
		break;
	}
	case EVT_DISCONNECTED:
		app_lock();
		g_app.connected = false;
		g_app.link_ready = false;
		privacy_link_down(&g_app.privacy, clock_uptime_ms());
		app_unlock();
		sched_disconnected(&sched);
		break;
	case EVT_NOTIF_ADDED:
		notif_added(e->a, e->b);
		break;
	case EVT_NOTIF_REMOVED:
		app_lock();
		notif_list_remove(&g_app.notifs, e->b);
		app_unlock();
		break;
	case EVT_CALENDAR:
		store_save_calendar();
		op_service_notify_status();
		break;
	case EVT_SETTINGS:
		store_save_settings();
		break;
	case EVT_FILTER:
		filter_changed();
		break;
	case EVT_PRIVACY:
		store_save_privacy();
		break;
	case EVT_ERASE_ALL:
		erase_all_and_restart();
		return;
	case EVT_BATTERY:
		battery_check();
		break;
	case EVT_CHARGER:
		battery_check();
		app_lock();
		if (e->a == OP_CHG_CHARGING && g_app.nav.screen == UI_HOME) {
			ui_nav_show(&g_app.nav, UI_CHARGING);
		} else if (e->a == OP_CHG_NONE && g_app.nav.screen == UI_CHARGING) {
			ui_nav_show(&g_app.nav, UI_HOME);
		}
		app_unlock();
		break;
	case EVT_NFC_FIELD:
		/* A tap on a device that has a phone only wakes it (protocol 4). */
		if (!ble_has_bond() && !g_app.pairing_window) {
			LOG_INF("NFC tap with no phone: opening pairing");
			open_pairing();
		}
		break;
	case EVT_PAIRING_DONE:
		app_lock();
		g_app.bonded = true;
		ui_nav_show(&g_app.nav, UI_HOME);
		app_unlock();
		force_full = true;
		break;
	case EVT_BOOKS:
		/* A book deleted from the app may be the one open in the reader. */
		if (g_reading.open) {
			bool found = false;
			struct op_book_info b;

			for (uint16_t i = 0; i < books_count() && !found; i++) {
				found = books_get(i, &b) && b.book_id == g_reading.book_id;
			}
			if (!found) {
				LOG_INF("open book was deleted; closing the reader");
				books_close();
				g_reading.open = false;
				force_full = true;
				app_lock();
				if (g_app.nav.screen == UI_READER) {
					ui_nav_show(&g_app.nav, UI_LIBRARY);
				}
				app_unlock();
			}
		}
		break;
	case EVT_PAIRING_WINDOW_END:
	case EVT_MUSIC:
	case EVT_TIME_SET:
	case EVT_WEATHER:
	default:
		break;
	}
	render();
}

/* Periodic work. Returns the time until it is next needed. */
static k_timeout_t periodic(void)
{
	uint64_t now_ms = clock_uptime_ms();
	uint32_t now = clock_now();
	uint64_t wait_ms = BATTERY_POLL_MS;

	app_lock();
	unsigned act = privacy_tick(&g_app.privacy, now_ms);
	uint64_t pd = privacy_next_deadline(&g_app.privacy, now_ms);
	uint32_t wx_until = g_app.weather.valid ? g_app.weather.valid_until : 0;
	enum ui_screen screen = g_app.nav.screen;
	uint64_t away_ms = privacy_away_ms(&g_app.privacy, now_ms);
	app_unlock();

	/* Record time away once an hour, so a restart does not reset the 7-day rule. */
	if (away_ms >= AWAY_SAVE_STEP_MS) {
		store_save_away((uint32_t)((away_ms / AWAY_SAVE_STEP_MS) * (AWAY_SAVE_STEP_MS / 60000u)));
		wait_ms = MIN(wait_ms, AWAY_SAVE_STEP_MS - away_ms % AWAY_SAVE_STEP_MS);
	}
	if (act) {
		apply_privacy(act);
		render();
	}
	wait_ms = MIN(wait_ms, pd);

	struct sched_req q = sched_tick(&sched, now_ms / 1000, clock_valid(), now, wx_until);

	if (q.kind) {
		op_service_data_request(q.kind, q.reason);
	}
	uint32_t sn = sched_next_s(&sched, now_ms / 1000, clock_valid(), now);

	if (sn != UINT32_MAX) {
		wait_ms = MIN(wait_ms, (uint64_t)sn * 1000);
	}

	/* The clock on Home changes once a minute. */
	if (clock_valid() && (screen == UI_HOME || screen == UI_CHARGING)) {
		if (now / 60 != last_minute) {
			render();
		}
		wait_ms = MIN(wait_ms, (uint64_t)(60 - now % 60) * 1000 + 200);
	}
	if (k_uptime_get() >= next_battery_poll) {
		next_battery_poll = k_uptime_get() + BATTERY_POLL_MS;
		battery_check();
	}
	return K_MSEC(MAX(wait_ms, 100));
}

void app_init_state(void)
{
	memset(&g_app, 0, sizeof(g_app));
	op_settings_default(&g_app.settings);
	op_privacy_default(&g_app.privacy_cfg);
	privacy_init(&g_app.privacy, clock_uptime_ms());
	notif_list_init(&g_app.notifs);
	cal_init(&g_app.cal);
	app_filter_init(&g_app.filter);
	ui_nav_init(&g_app.nav);
	sched_init(&sched);
	batt_policy_init(&batt);
}

void app_run(void)
{
	struct app_evt e;

	app_lock();
	if (!g_app.bonded) {
		ui_nav_show(&g_app.nav, UI_PAIRING);
	} else if (charger_state() == OP_CHG_CHARGING) {
		ui_nav_show(&g_app.nav, UI_CHARGING);
	}
	app_unlock();
	battery_check();
	force_full = true;
	render();

	wdt_start();
	for (;;) {
		wdt_kick();
		k_timeout_t wait = periodic();

		if (k_msgq_get(&evt_q, &e, wait) == 0) {
			handle(&e);
		}
	}
}
```

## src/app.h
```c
/*
 * OnePage Mini - shared application state and the event queue.
 *
 * One application thread (main.c) owns the UI and all decisions. Bluetooth
 * callbacks, drivers and timers post events to it. Shared state is guarded
 * by app_lock(); hold it only for short copies, never across a display
 * refresh or a flash write.
 */
#ifndef OP_APP_H
#define OP_APP_H

#include <stdbool.h>
#include <stdint.h>

#include "core/alerts.h"
#include "core/app_filter.h"
#include "core/calendar.h"
#include "core/notif_list.h"
#include "core/op_proto.h"
#include "core/privacy.h"
#include "core/ui_nav.h"

enum app_evt_type {
	EVT_INPUT = 1,         /* a = enum ui_input */
	EVT_CONNECTED,
	EVT_DISCONNECTED,
	EVT_LINK_READY,        /* encrypted and iOS services discovered */
	EVT_NOTIF_ADDED,       /* b = uid */
	EVT_NOTIF_REMOVED,     /* b = uid */
	EVT_MUSIC,             /* track or play state changed */
	EVT_TIME_SET,
	EVT_WEATHER,
	EVT_CALENDAR,          /* calendar replaced or cleared; persist it */
	EVT_SETTINGS,          /* settings written; persist them */
	EVT_FILTER,            /* app filter changed; persist it */
	EVT_PRIVACY,           /* privacy settings written; persist them */
	EVT_ERASE_ALL,         /* ERAS from the app */
	EVT_BATTERY,
	EVT_CHARGER,
	EVT_NFC_FIELD,
	EVT_BOOKS,             /* library changed */
	EVT_PAIRING_DONE,
	EVT_PAIRING_WINDOW_END,
	EVT_TOUCH,             /* a touch sample is ready */
	EVT_TICK,
};

struct app_evt {
	uint8_t type;
	uint8_t a;
	uint32_t b;
};

void app_post(uint8_t type, uint8_t a, uint32_t b);

struct music_state {
	bool valid;
	bool playing;
	char title[64];  /* Windows-1252 */
	char artist[48];
	char album[48];
};

struct battery_state {
	bool gauge_ok;
	uint8_t percent;
	uint8_t charging; /* enum op_charging */
	uint16_t millivolts;
};

struct app_state {
	struct op_settings settings;
	struct op_privacy privacy_cfg;
	struct privacy privacy;
	struct op_weather weather;
	struct app_filter filter;
	struct notif_list notifs;
	struct cal_store cal;
	struct music_state music;
	struct battery_state battery;
	struct ui_nav nav;
	uint16_t last_error;
	bool connected;
	bool link_ready;
	bool bonded;
	bool pairing_window;
	char device_id[9];
};

extern struct app_state g_app;

void app_lock(void);
void app_unlock(void);

/* Records an error for the Status characteristic. */
void app_set_error(uint16_t code);

/* Builds the Status characteristic value. */
size_t app_status_encode(uint8_t *buf, size_t cap);

/* Erases the owner's data (calendar, weather, settings, filter). */
void app_erase_personal(void);

#endif /* OP_APP_H */
```

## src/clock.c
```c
#include "clock.h"

#include <zephyr/kernel.h>

static struct {
	bool valid;
	uint32_t local_at_set;
	int64_t uptime_at_set;
} clk;

static struct k_spinlock clk_lock;

void clock_set_local(uint32_t local_seconds)
{
	k_spinlock_key_t key = k_spin_lock(&clk_lock);

	clk.local_at_set = local_seconds;
	clk.uptime_at_set = k_uptime_get();
	clk.valid = true;
	k_spin_unlock(&clk_lock, key);
}

bool clock_valid(void)
{
	return clk.valid;
}

uint32_t clock_now(void)
{
	k_spinlock_key_t key = k_spin_lock(&clk_lock);
	uint32_t now = 0;

	if (clk.valid) {
		now = clk.local_at_set + (uint32_t)((k_uptime_get() - clk.uptime_at_set) / 1000);
	}
	k_spin_unlock(&clk_lock, key);
	return now;
}

uint64_t clock_uptime_ms(void)
{
	return (uint64_t)k_uptime_get();
}
```

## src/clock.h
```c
/* OnePage Mini - wall clock set from the iPhone's Current Time Service. */
#ifndef OP_CLOCK_H
#define OP_CLOCK_H

#include <stdbool.h>
#include <stdint.h>

void clock_set_local(uint32_t local_seconds);
bool clock_valid(void);
/* Local seconds now, or 0 if the clock was never set. */
uint32_t clock_now(void);
/* Milliseconds since boot, counting through sleep. */
uint64_t clock_uptime_ms(void);

#endif
```

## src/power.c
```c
/*
 * OnePage Mini - power manager.
 *
 * States (firmware spec section 8):
 *   Off        System OFF; wake by power button or charger.     power_off()
 *   Connected  Zephyr idles the CPU between radio events. Display supply
 *              cut after CONFIG_ONEPAGE_EPD_POWER_HOLD_MS, NOR flash in
 *              deep power-down when idle (PM device runtime), touch chip
 *              in its own low-power mode after 2 s.
 *   Disconnected  Same, with slow advertising (ble_core.c).
 *   Active     Screen updating, touch in use, flash on while reading.
 *   Charging   As active, with the Charging screen.
 */
#include "power.h"

#include <zephyr/bluetooth/bluetooth.h>
#include <zephyr/kernel.h>
#include <zephyr/logging/log.h>
#include <zephyr/sys/poweroff.h>

#include "drivers/epd.h"
#include "drivers/input.h"
#include "drivers/power_hw.h"
#include "storage/books.h"
#include "ui/gfx.h"
#include "ui/screens.h"

LOG_MODULE_REGISTER(power, LOG_LEVEL_INF);

void power_off(const char *title, const char *body)
{
	LOG_INF("switching off: %s", title);
	alerts_stop();
	books_close();
	screens_draw_message(title, body);
	(void)epd_show(gfx_fb, EPD_FULL, 0, EPD_HEIGHT - 1);
	epd_power_off();
	(void)bt_disable();
	button_prepare_poweroff();
	charger_prepare_poweroff();
	k_msleep(50); /* let the log drain */
	sys_poweroff();
}
```

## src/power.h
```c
/* OnePage Mini - power manager: shipping/off state and battery rules. */
#ifndef OP_POWER_H
#define OP_POWER_H

#include <stdint.h>

#include "core/battery_policy.h"

/* The rules themselves are in core/battery_policy.c. */
#define BATTERY_WARN_PERCENT BATT_WARN_PERCENT
#define BATTERY_OFF_PERCENT BATT_OFF_PERCENT

/*
 * Shows a last message, cuts the display supply and enters System OFF
 * (under 2 uA). The power button or the charger wakes the device, which
 * then boots from the start. Does not return.
 */
void power_off(const char *title, const char *body);

#endif
```
